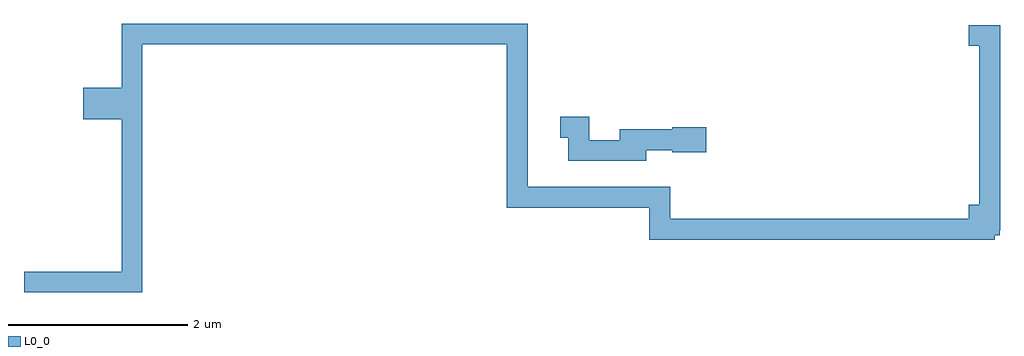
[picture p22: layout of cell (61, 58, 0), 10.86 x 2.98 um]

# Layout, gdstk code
import gdstk
lib = gdstk.Library(unit=1e-6, precision=1e-09)
def P(c, l, *ps):  # polygons
    for p in ps: c.add(gdstk.Polygon(p, *l))
L0_0 = (0, 0)

c__61__58__0_ = lib.new_cell('(61, 58, 0)')
P(c__61__58__0_, L0_0, [(924.215,993.695),(925.105,993.695),(925.105,993.465),(924.215,993.465),(924.215,993.695)],
  [(924.215,993.44),(924.215,993.695),(924.445,993.695),(924.445,993.44),(924.215,993.44)],
  [(923.875,993.575),(924.51,993.575),(924.51,993.345),(923.645,993.345),(923.645,993.605),(923.555,993.605),(923.555,993.835),(923.875,993.835),(923.875,993.575)],
  [(924.8,993.72),(925.18,993.72),(925.18,993.44),(924.8,993.44),(924.8,993.72)],
  [(924.215,993.44),(924.215,993.695),(924.445,993.695),(924.445,993.44),(924.215,993.44)],
  [(923.875,993.575),(924.51,993.575),(924.51,993.345),(923.645,993.345),(923.645,993.605),(923.555,993.605),(923.555,993.835),(923.875,993.835),(923.875,993.575)],
  [(923.19,993.055),(924.775,993.055),(924.775,992.7),(928.1,992.7),(928.1,992.86),(928.215,992.86),(928.215,994.625),(928.1,994.625),(928.1,994.855),(928.445,994.855),(928.445,992.575),(928.44,992.575),(928.44,992.52),(928.385,992.52),(928.385,992.47),(924.545,992.47),(924.545,992.825),(922.96,992.825),(922.96,994.64),(918.905,994.64),(918.905,991.885),(917.59,991.885),(917.59,992.115),(918.675,992.115),(918.675,993.81),(918.25,993.81),(918.25,994.16),(918.675,994.16),(918.675,994.87),(923.19,994.87),(923.19,993.055)])

lib.write_gds('_61__58__0_.gds')
